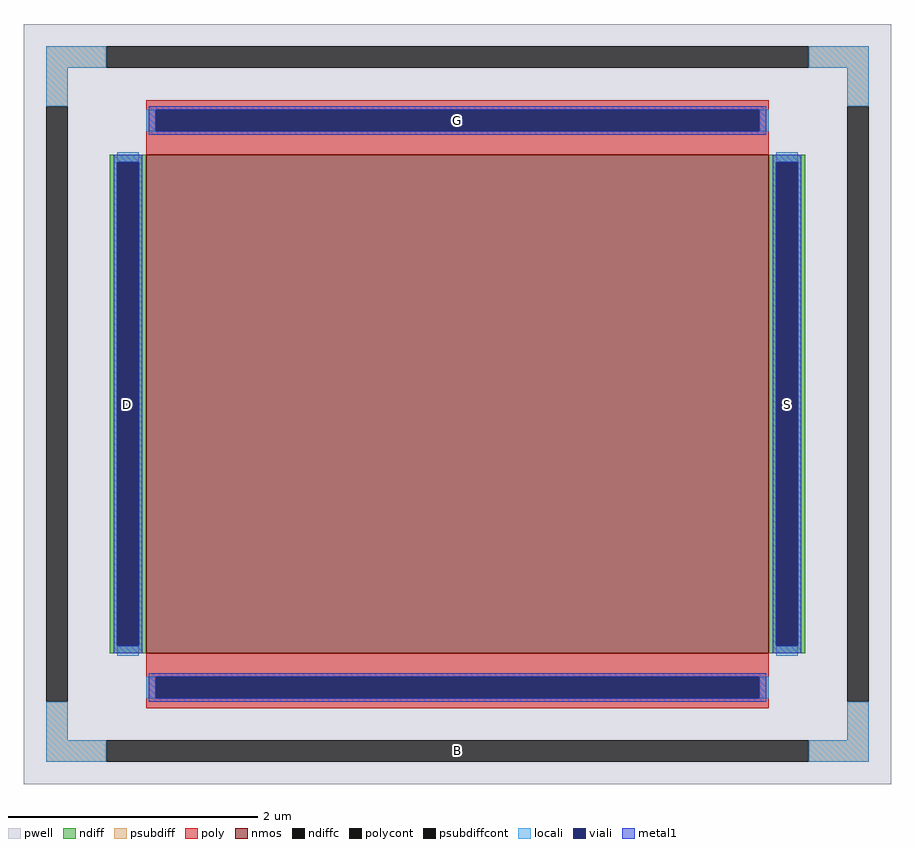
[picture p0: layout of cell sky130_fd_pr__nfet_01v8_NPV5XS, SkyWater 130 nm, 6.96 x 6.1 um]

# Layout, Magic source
magic
tech sky130A
magscale 1 2
<< pwell >>
rect -696 -610 696 610
<< nmos >>
rect -500 -400 500 400
<< ndiff >>
rect -558 388 -500 400
rect -558 -388 -546 388
rect -512 -388 -500 388
rect -558 -400 -500 -388
rect 500 388 558 400
rect 500 -388 512 388
rect 546 -388 558 388
rect 500 -400 558 -388
<< ndiffc >>
rect -546 -388 -512 388
rect 512 -388 546 388
<< psubdiff >>
rect -660 540 -564 574
rect 564 540 660 574
rect -660 478 -626 540
rect 626 478 660 540
rect -660 -540 -626 -478
rect 626 -540 660 -478
rect -660 -574 -564 -540
rect 564 -574 660 -540
<< psubdiffcont >>
rect -564 540 564 574
rect -660 -478 -626 478
rect 626 -478 660 478
rect -564 -574 564 -540
<< poly >>
rect -500 472 500 488
rect -500 438 -484 472
rect 484 438 500 472
rect -500 400 500 438
rect -500 -438 500 -400
rect -500 -472 -484 -438
rect 484 -472 500 -438
rect -500 -488 500 -472
<< polycont >>
rect -484 438 484 472
rect -484 -472 484 -438
<< locali >>
rect -660 540 -564 574
rect 564 540 660 574
rect -660 478 -626 540
rect 626 478 660 540
rect -500 438 -484 472
rect 484 438 500 472
rect -546 388 -512 404
rect -546 -404 -512 -388
rect 512 388 546 404
rect 512 -404 546 -388
rect -500 -472 -484 -438
rect 484 -472 500 -438
rect -660 -540 -626 -478
rect 626 -540 660 -478
rect -660 -574 -564 -540
rect 564 -574 660 -540
<< viali >>
rect -484 438 484 472
rect -546 -388 -512 388
rect 512 -388 546 388
rect -484 -472 484 -438
<< metal1 >>
rect -496 472 496 478
rect -496 438 -484 472
rect 484 438 496 472
rect -496 432 496 438
rect -552 388 -506 400
rect -552 -388 -546 388
rect -512 -388 -506 388
rect -552 -400 -506 -388
rect 506 388 552 400
rect 506 -388 512 388
rect 546 -388 552 388
rect 506 -400 552 -388
rect -496 -438 496 -432
rect -496 -472 -484 -438
rect 484 -472 496 -438
rect -496 -478 496 -472
<< labels >>
rlabel psubdiffcont 0 -557 0 -557 0 B
port 1 nsew
rlabel ndiffc -529 0 -529 0 0 D
port 2 nsew
rlabel ndiffc 529 0 529 0 0 S
port 3 nsew
rlabel polycont 0 455 0 455 0 G
port 4 nsew
<< properties >>
string FIXED_BBOX -643 -557 643 557
string gencell sky130_fd_pr__nfet_01v8
string library sky130
string parameters w 4 l 5 m 1 nf 1 diffcov 100 polycov 100 guard 1 glc 1 grc 1 gtc 1 gbc 1 tbcov 100 rlcov 100 topc 1 botc 1 poverlap 0 doverlap 1 lmin 0.15 wmin 0.42 class mosfet compatible {sky130_fd_pr__nfet_01v8 sky130_fd_pr__nfet_01v8_lvt  sky130_fd_bs_flash__special_sonosfet_star  sky130_fd_pr__nfet_g5v0d10v5 sky130_fd_pr__nfet_05v0_nvt  sky130_fd_pr__nfet_03v3_nvt} full_metal 1 conn_gates 0 viasrc 100 viadrn 100 viagate 100 viagb 0 viagr 0 viagl 0 viagt 0 doports 1
<< end >>
